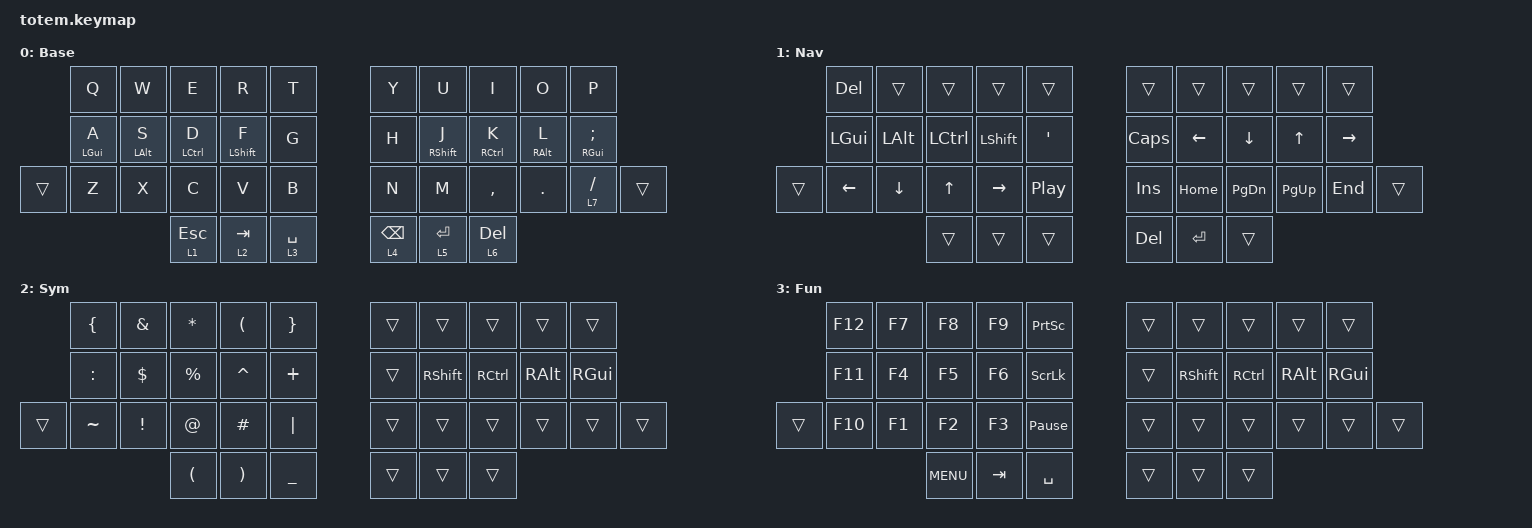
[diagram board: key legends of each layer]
//
//                                                        ▀▀▀▀▀     ▀▀▀▀▀          ▀▀█▀▀
//                                                        ▄▀▀▀▄  ▄  ▄▀▀▀▄  ▄  ▄▀▀▀▄  █  ▄▀▀▀▄
//                                                        █   █  █  █   █  █  █   █  █  █   █
//                                                         ▀▀▀   █   ▀▀▀   █   ▀▀▀   ▀   ▀▀▀
//                                                               █      ▄▄▄█▄▄▄    █   █  
//                                                               ▀      █  █  █     █▄█
//                                                             ▀▀▀▀▀    █  █  █      ▀
//                                                                      ▀  ▀  ▀
//
// ▄▄▄▄▄▄▄▄▄▄▄▄▄▄▄▄▄▄▄▄▄▄▄▄▄▄▄▄▄▄▄▄▄▄▄▄▄▄▄▄▄▄▄▄▄▄▄▄▄▄▄▄▄▄▄▄▄▄▄▄▄▄▄▄▄▄▄▄▄▄▄▄▄▄▄▄▄▄▄▄▄▄▄▄▄▄▄▄▄▄▄▄▄▄▄▄▄▄▄▄▄▄▄▄▄▄▄▄▄▄▄▄▄▄▄▄▄▄▄▄▄▄▄▄▄▄▄▄▄▄▄▄▄▄▄▄▄▄▄▄▄▄▄▄▄▄▄▄▄

#include <behaviors.dtsi>
#include <dt-bindings/zmk/keys.h>
#include <dt-bindings/zmk/bt.h>
#include <dt-bindings/zmk/outputs.h>
#include <dt-bindings/zmk/ext_power.h>

#define Base        0
#define Nav         1
#define Sym         2
#define Fun         3

&mt {
    quick-tap-ms = <100>;
    global-quick-tap;
    flavor = "tap-preferred";
    tapping-term-ms = <170>;
};

&lt {
    tapping-term-ms = <240>;
    flavor = "balanced";
    quick-tap-ms = <150>;
};

/ {

    behaviors {
        hm: homerow_mods {
            compatible = "zmk,behavior-hold-tap";
            label = "HOMEROW_MODS";
            #binding-cells = <2>;
            flavor = "tap-preferred";
            tapping-term-ms = <240>;
            quick-tap-ms = <150>;
            global-quick-tap;
            bindings =
                <&kp>,
                <&kp>;
        };
    };

    keymap {
        compatible = "zmk,keymap";

    Base {
        label = "Base";
        bindings = <
                &kp Q       &kp W       &kp E         &kp R         &kp T                         &kp Y        &kp U         &kp I       &kp O               &kp P               
                &hm LGUI A  &hm LALT S  &hm LCTRL D   &hm LSHIFT F  &kp G                         &kp H  &hm RSHFT J   &hm RCTRL K  &hm RALT L  &hm RGUI SEMICOLON  
        &trans  &kp Z       &kp X       &kp C         &kp V         &kp B                         &kp N        &kp M     &kp COMMA     &kp DOT         &lt 7 SLASH  &trans
                                        &lt 1 ESCAPE  &lt 2 TAB     &lt 3 SPACE         &lt 4 BACKSPACE  &lt 5 ENTER  &lt 6 DELETE
        >;
    };

    Nav {
        label = "Nav";
        bindings = <
                &kp DELETE    &trans    &trans     &trans      &trans                       &trans     &trans         &trans       &trans       &trans  
                &kp LEFT_GUI  &kp LALT  &kp LCTRL  &kp LSHIFT  &kp SQT                    &kp CAPS   &kp LEFT       &kp DOWN       &kp UP    &kp RIGHT  
        &trans  &kp LEFT      &kp DOWN  &kp UP     &kp RIGHT   &kp C_PLAY_PAUSE         &kp INSERT   &kp HOME  &kp PAGE_DOWN  &kp PAGE_UP      &kp END  &trans
                                        &trans     &trans      &trans                   &kp DELETE  &kp ENTER         &trans
        >;
    };

    Sym {
        label = "Sym";
        bindings = <
                &kp LEFT_BRACE  &kp AMPERSAND  &kp ASTERISK         &kp LEFT_PARENTHESIS   &kp RIGHT_BRACE       &trans      &trans     &trans    &trans    &trans  
                &kp COLON       &kp DOLLAR     &kp PERCENT          &kp CARET              &kp PLUS              &trans  &kp RSHIFT  &kp RCTRL  &kp RALT  &kp RGUI  
        &trans  &kp TILDE       &kp EXCL       &kp AT               &kp HASH               &kp PIPE              &trans      &trans     &trans    &trans    &trans  &trans
                                              &kp LEFT_PARENTHESIS  &kp RIGHT_PARENTHESIS  &kp UNDERSCORE        &trans      &trans     &trans   
        >;
    };

    Fun {
        label = "Fun";
        bindings = <
                &kp F12     &kp F7   &kp F8      &kp F9   &kp PRINTSCREEN          &trans      &trans     &trans    &trans    &trans  
                &kp F11     &kp F4   &kp F5      &kp F6   &kp SCROLLLOCK           &trans  &kp RSHIFT  &kp RCTRL  &kp RALT  &kp RGUI  
        &trans  &kp F10     &kp F1   &kp F2      &kp F3   &kp PAUSE_BREAK          &trans      &trans     &trans    &trans    &trans  &trans
                                     &kp C_MENU  &kp TAB  &kp SPACE                &trans      &trans     &trans
        >;
    };
  };
};
